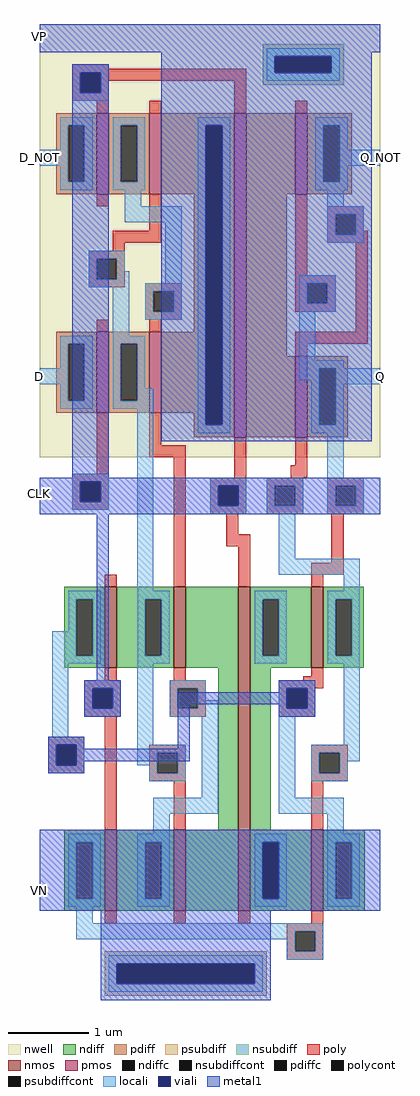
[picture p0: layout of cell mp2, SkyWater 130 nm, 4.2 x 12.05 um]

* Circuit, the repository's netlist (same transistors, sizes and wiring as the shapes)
* NGSPICE file created from mp2.ext - technology: sky130A


* Top level circuit mp2

X0 Q Q_NOT a_1900_1980# VP sky130_fd_pr__pfet_01v8 ad=0.5 pd=3 as=0.733 ps=3.13 w=1 l=0.15
X1 Q_NOT Q a_1900_1980# VP sky130_fd_pr__pfet_01v8 ad=0.55 pd=3.1 as=0.733 ps=3.13 w=1 l=0.15
X2 a_1750_810# a_1560_2580# a_1510_2350# VN sky130_fd_pr__nfet_01v8 ad=0.6 pd=3.37 as=0.35 ps=1.7 w=1 l=0.15
X3 VP a_1560_2580# a_1510_2350# VP sky130_fd_pr__pfet_01v8 ad=0.933 pd=3.53 as=0.25 ps=1.5 w=1 l=0.15
X4 a_1560_2580# CLK Q_NOT VN sky130_fd_pr__nfet_01v8 ad=0.35 pd=1.7 as=0.5 ps=3 w=1 l=0.15
X5 Q Q_NOT VN VN sky130_fd_pr__nfet_01v8 ad=0.51 pd=3.02 as=0.667 ps=3.5 w=1 l=0.15
X6 a_1510_2350# CLK D VP sky130_fd_pr__pfet_01v8 ad=0.25 pd=1.5 as=0.5 ps=3 w=1 l=0.15
X7 a_1750_810# a_1510_2350# a_1560_2580# VN sky130_fd_pr__nfet_01v8 ad=0.6 pd=3.37 as=0.35 ps=1.7 w=1 l=0.15
X8 VP a_1510_2350# a_1560_2580# VP sky130_fd_pr__pfet_01v8 ad=0.933 pd=3.53 as=0.25 ps=1.5 w=1 l=0.15
X9 a_1900_1980# CLK VP VP sky130_fd_pr__pfet_01v8 ad=0.733 pd=3.13 as=0.933 ps=3.53 w=4 l=0.15
X10 Q_NOT Q VN VN sky130_fd_pr__nfet_01v8 ad=0.5 pd=3 as=0.667 ps=3.5 w=1 l=0.15
X11 VN CLK a_1750_810# VN sky130_fd_pr__nfet_01v8 ad=0.667 pd=3.5 as=0.6 ps=3.37 w=4 l=0.15
X12 a_1560_2580# CLK D_NOT VP sky130_fd_pr__pfet_01v8 ad=0.25 pd=1.5 as=0.5 ps=3 w=1 l=0.15
X13 a_1510_2350# CLK Q VN sky130_fd_pr__nfet_01v8 ad=0.35 pd=1.7 as=0.5 ps=3 w=1 l=0.15
.end

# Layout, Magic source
magic
tech sky130A
<< nwell >>
rect 695 965 1115 1500
<< nmos >>
rect 775 705 790 805
rect 860 705 875 805
rect 775 405 790 505
rect 860 405 875 505
rect 940 405 955 805
rect 1030 705 1045 805
rect 1030 405 1045 505
<< pmos >>
rect 765 1290 780 1390
rect 830 1290 845 1390
rect 765 1020 780 1120
rect 830 1020 845 1120
rect 935 990 950 1390
rect 1010 1290 1025 1390
rect 1010 990 1025 1090
<< ndiff >>
rect 725 790 775 805
rect 725 720 740 790
rect 760 720 775 790
rect 725 705 775 720
rect 790 790 860 805
rect 790 720 825 790
rect 845 720 860 790
rect 790 705 860 720
rect 875 705 940 805
rect 915 505 940 705
rect 725 490 775 505
rect 725 420 740 490
rect 760 420 775 490
rect 725 405 775 420
rect 790 490 860 505
rect 790 420 825 490
rect 845 420 860 490
rect 790 405 860 420
rect 875 405 940 505
rect 955 790 1030 805
rect 955 720 970 790
rect 990 720 1030 790
rect 955 705 1030 720
rect 1045 790 1095 805
rect 1045 720 1060 790
rect 1080 720 1095 790
rect 1045 705 1095 720
rect 955 505 980 705
rect 955 490 1030 505
rect 955 420 970 490
rect 990 420 1030 490
rect 955 405 1030 420
rect 1045 490 1096 505
rect 1045 420 1060 490
rect 1080 420 1096 490
rect 1045 405 1096 420
<< pdiff >>
rect 715 1375 765 1390
rect 715 1305 730 1375
rect 750 1305 765 1375
rect 715 1290 765 1305
rect 780 1375 830 1390
rect 780 1305 795 1375
rect 815 1305 830 1375
rect 780 1290 830 1305
rect 845 1375 935 1390
rect 845 1290 900 1375
rect 885 1120 900 1290
rect 715 1105 765 1120
rect 715 1035 730 1105
rect 750 1035 765 1105
rect 715 1020 765 1035
rect 780 1105 830 1120
rect 780 1035 795 1105
rect 815 1035 830 1105
rect 780 1020 830 1035
rect 845 1020 900 1120
rect 885 1005 900 1020
rect 920 1005 935 1375
rect 885 990 935 1005
rect 950 1290 1010 1390
rect 1025 1375 1080 1390
rect 1025 1305 1045 1375
rect 1065 1305 1080 1375
rect 1025 1290 1080 1305
rect 950 1090 1000 1290
rect 950 990 1010 1090
rect 1025 1075 1075 1090
rect 1025 1005 1040 1075
rect 1060 1005 1075 1075
rect 1025 990 1075 1005
<< ndiffc >>
rect 740 720 760 790
rect 825 720 845 790
rect 740 420 760 490
rect 825 420 845 490
rect 970 720 990 790
rect 1060 720 1080 790
rect 970 420 990 490
rect 1060 420 1080 490
<< pdiffc >>
rect 730 1305 750 1375
rect 795 1305 815 1375
rect 730 1035 750 1105
rect 795 1035 815 1105
rect 900 1005 920 1375
rect 1045 1305 1065 1375
rect 1040 1005 1060 1075
<< psubdiff >>
rect 775 340 975 355
rect 775 315 790 340
rect 960 315 975 340
rect 775 300 975 315
<< nsubdiff >>
rect 970 1460 1070 1475
rect 970 1440 985 1460
rect 1055 1440 1070 1460
rect 970 1425 1070 1440
<< psubdiffcont >>
rect 790 315 960 340
<< nsubdiffcont >>
rect 985 1440 1055 1460
<< poly >>
rect 735 1445 780 1450
rect 735 1440 950 1445
rect 735 1415 745 1440
rect 770 1430 950 1440
rect 770 1415 780 1430
rect 735 1405 780 1415
rect 765 1390 780 1405
rect 830 1390 845 1405
rect 935 1390 950 1430
rect 1010 1390 1025 1405
rect 765 1275 780 1290
rect 830 1245 845 1290
rect 785 1230 845 1245
rect 785 1220 800 1230
rect 755 1210 800 1220
rect 755 1185 765 1210
rect 790 1185 800 1210
rect 755 1175 800 1185
rect 825 1170 870 1180
rect 825 1145 835 1170
rect 860 1145 870 1170
rect 825 1135 870 1145
rect 765 1120 780 1135
rect 830 1120 845 1135
rect 765 945 780 1020
rect 830 980 845 1020
rect 1010 1190 1025 1290
rect 1050 1265 1095 1275
rect 1050 1240 1060 1265
rect 1085 1245 1095 1265
rect 1085 1240 1100 1245
rect 1050 1230 1100 1240
rect 1010 1180 1060 1190
rect 1010 1155 1025 1180
rect 1050 1155 1060 1180
rect 1010 1145 1060 1155
rect 1085 1120 1100 1230
rect 1010 1105 1100 1120
rect 1010 1090 1025 1105
rect 830 965 875 980
rect 735 935 780 945
rect 735 910 745 935
rect 770 910 780 935
rect 735 900 780 910
rect 775 805 790 820
rect 860 805 875 965
rect 935 940 950 990
rect 1010 955 1025 990
rect 1005 940 1025 955
rect 905 930 950 940
rect 905 905 915 930
rect 940 905 950 930
rect 905 895 950 905
rect 975 930 1020 940
rect 975 905 985 930
rect 1010 905 1020 930
rect 975 895 1020 905
rect 1050 930 1095 940
rect 1050 905 1060 930
rect 1085 905 1095 930
rect 1050 895 1095 905
rect 925 870 940 895
rect 925 855 955 870
rect 940 805 955 855
rect 1055 835 1070 895
rect 1030 820 1070 835
rect 1030 805 1045 820
rect 775 690 790 705
rect 860 690 875 705
rect 750 680 795 690
rect 750 655 760 680
rect 785 655 795 680
rect 750 645 795 655
rect 855 680 900 690
rect 855 655 865 680
rect 890 655 900 680
rect 855 645 900 655
rect 705 610 750 620
rect 705 585 715 610
rect 740 585 750 610
rect 705 575 750 585
rect 775 505 790 645
rect 830 600 875 610
rect 830 575 840 600
rect 865 575 875 600
rect 830 565 875 575
rect 860 505 875 565
rect 1030 695 1045 705
rect 1020 690 1045 695
rect 990 680 1045 690
rect 990 655 1000 680
rect 1025 655 1035 680
rect 990 645 1035 655
rect 1030 600 1075 610
rect 1030 575 1040 600
rect 1065 575 1075 600
rect 1030 565 1075 575
rect 1030 505 1045 565
rect 775 390 790 405
rect 860 390 875 405
rect 940 390 955 405
rect 1030 390 1045 405
rect 1000 380 1045 390
rect 1000 355 1010 380
rect 1035 355 1045 380
rect 1000 345 1045 355
<< polycont >>
rect 745 1415 770 1440
rect 765 1185 790 1210
rect 835 1145 860 1170
rect 1060 1240 1085 1265
rect 1025 1155 1050 1180
rect 745 910 770 935
rect 915 905 940 930
rect 985 905 1010 930
rect 1060 905 1085 930
rect 760 655 785 680
rect 865 655 890 680
rect 715 585 740 610
rect 840 575 865 600
rect 1000 655 1025 680
rect 1040 575 1065 600
rect 1010 355 1035 380
<< locali >>
rect 975 1460 1065 1470
rect 735 1440 780 1450
rect 735 1415 745 1440
rect 770 1415 780 1440
rect 975 1440 985 1460
rect 1055 1440 1065 1460
rect 975 1430 1065 1440
rect 735 1405 780 1415
rect 720 1375 760 1385
rect 720 1345 730 1375
rect 695 1325 730 1345
rect 720 1305 730 1325
rect 750 1305 760 1375
rect 720 1295 760 1305
rect 785 1375 825 1385
rect 785 1305 795 1375
rect 815 1305 825 1375
rect 785 1295 825 1305
rect 890 1375 930 1385
rect 800 1275 820 1295
rect 800 1255 870 1275
rect 755 1210 800 1220
rect 755 1185 765 1210
rect 790 1195 800 1210
rect 790 1185 805 1195
rect 755 1175 805 1185
rect 850 1180 870 1255
rect 785 1115 805 1175
rect 825 1170 870 1180
rect 825 1145 835 1170
rect 860 1145 870 1170
rect 825 1135 870 1145
rect 720 1105 760 1115
rect 720 1075 730 1105
rect 695 1055 730 1075
rect 720 1035 730 1055
rect 750 1035 760 1105
rect 720 1025 760 1035
rect 785 1105 825 1115
rect 785 1035 795 1105
rect 815 1050 825 1105
rect 815 1035 835 1050
rect 785 1025 835 1035
rect 735 935 780 945
rect 735 910 745 935
rect 770 910 780 935
rect 735 900 780 910
rect 815 800 835 1025
rect 890 1005 900 1375
rect 920 1005 930 1375
rect 1035 1375 1075 1385
rect 1035 1305 1045 1375
rect 1065 1345 1075 1375
rect 1065 1325 1115 1345
rect 1065 1305 1075 1325
rect 1035 1295 1075 1305
rect 1050 1275 1070 1295
rect 1050 1265 1095 1275
rect 1050 1240 1060 1265
rect 1085 1240 1095 1265
rect 1050 1230 1095 1240
rect 1015 1180 1060 1190
rect 1015 1155 1025 1180
rect 1050 1155 1060 1180
rect 1015 1145 1060 1155
rect 1015 1085 1035 1145
rect 1015 1075 1070 1085
rect 1015 1060 1040 1075
rect 890 995 930 1005
rect 1030 1005 1040 1060
rect 1060 1055 1115 1075
rect 1060 1005 1070 1055
rect 1030 995 1070 1005
rect 1050 940 1070 995
rect 905 930 950 940
rect 905 905 915 930
rect 940 905 950 930
rect 905 895 950 905
rect 975 930 1020 940
rect 975 905 985 930
rect 1010 905 1020 930
rect 975 895 1020 905
rect 1050 930 1095 940
rect 1050 905 1060 930
rect 1085 905 1095 930
rect 1050 895 1095 905
rect 990 840 1010 895
rect 990 820 1090 840
rect 1070 800 1090 820
rect 730 790 770 800
rect 730 750 740 790
rect 710 720 740 750
rect 760 720 770 790
rect 710 710 770 720
rect 815 790 855 800
rect 815 720 825 790
rect 845 720 855 790
rect 815 710 855 720
rect 960 790 1000 800
rect 960 720 970 790
rect 990 720 1000 790
rect 960 710 1000 720
rect 1050 790 1090 800
rect 1050 720 1060 790
rect 1080 720 1090 790
rect 1050 710 1090 720
rect 710 620 730 710
rect 750 680 795 690
rect 750 655 760 680
rect 785 655 795 680
rect 750 645 795 655
rect 705 610 750 620
rect 705 585 715 610
rect 740 585 750 610
rect 815 610 835 710
rect 855 680 900 690
rect 855 655 865 680
rect 890 665 900 680
rect 990 680 1035 690
rect 890 655 915 665
rect 855 645 915 655
rect 815 600 875 610
rect 815 585 840 600
rect 705 575 750 585
rect 830 575 840 585
rect 865 575 875 600
rect 830 565 875 575
rect 895 545 915 645
rect 835 525 915 545
rect 990 655 1000 680
rect 1025 655 1035 680
rect 990 645 1035 655
rect 990 545 1010 645
rect 1070 610 1090 710
rect 1030 600 1090 610
rect 1030 575 1040 600
rect 1065 590 1090 600
rect 1065 575 1075 590
rect 1030 565 1075 575
rect 990 525 1070 545
rect 835 500 855 525
rect 1050 500 1070 525
rect 730 490 770 500
rect 730 420 740 490
rect 760 420 770 490
rect 730 410 770 420
rect 815 490 855 500
rect 815 420 825 490
rect 845 420 855 490
rect 815 410 855 420
rect 960 490 1000 500
rect 960 420 970 490
rect 990 420 1000 490
rect 960 410 1000 420
rect 1050 490 1090 500
rect 1050 420 1060 490
rect 1080 420 1090 490
rect 1050 410 1090 420
rect 740 390 760 410
rect 740 380 1045 390
rect 740 370 1010 380
rect 1000 355 1010 370
rect 1035 355 1045 380
rect 780 340 970 350
rect 1000 345 1045 355
rect 780 315 790 340
rect 960 315 970 340
rect 780 305 970 315
<< viali >>
rect 745 1415 770 1440
rect 985 1440 1055 1460
rect 745 910 770 935
rect 900 1005 920 1375
rect 915 905 940 930
rect 760 655 785 680
rect 715 585 740 610
rect 1000 655 1025 680
rect 970 420 990 490
rect 790 315 960 340
<< metal1 >>
rect 695 1465 1115 1500
rect 845 1460 1105 1465
rect 735 1440 780 1450
rect 735 1415 745 1440
rect 770 1415 780 1440
rect 735 940 780 1415
rect 845 1440 985 1460
rect 1055 1440 1105 1460
rect 845 1375 1105 1440
rect 845 1005 900 1375
rect 920 1005 1105 1375
rect 845 985 1105 1005
rect 695 935 1115 940
rect 695 910 745 935
rect 770 930 1115 935
rect 770 910 915 930
rect 695 905 915 910
rect 940 905 1115 930
rect 695 895 1115 905
rect 765 690 780 895
rect 750 680 795 690
rect 750 655 760 680
rect 785 655 795 680
rect 990 680 1035 690
rect 990 675 1000 680
rect 750 645 795 655
rect 865 660 1000 675
rect 705 610 750 620
rect 705 585 715 610
rect 740 605 750 610
rect 865 605 880 660
rect 990 655 1000 660
rect 1025 655 1035 680
rect 990 645 1035 655
rect 740 590 880 605
rect 740 585 750 590
rect 705 575 750 585
rect 695 490 1115 505
rect 695 420 970 490
rect 990 420 1115 490
rect 695 405 1115 420
rect 770 340 980 405
rect 770 315 790 340
rect 960 315 980 340
rect 770 295 980 315
<< labels >>
rlabel locali 1115 1335 1115 1335 3 Q_NOT
rlabel locali 1115 1065 1115 1065 3 Q
rlabel locali 695 1065 695 1065 7 D
rlabel locali 695 1335 695 1335 7 D_NOT
rlabel metal1 695 1485 695 1485 7 VP
rlabel metal1 695 920 695 920 7 CLK
rlabel metal1 695 430 695 430 7 VN
<< end >>
